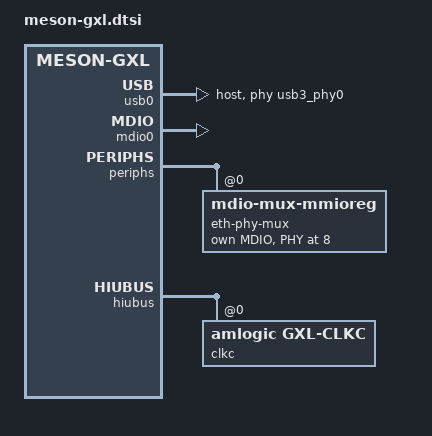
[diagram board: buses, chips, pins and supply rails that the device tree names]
/*
 * Copyright (c) 2016 Endless Computers, Inc.
 * Author: Carlo Caione <carlo@endlessm.com>
 *
 * This file is dual-licensed: you can use it either under the terms
 * of the GPL or the X11 license, at your option. Note that this dual
 * licensing only applies to this file, and not this project as a
 * whole.
 *
 *  a) This library is free software; you can redistribute it and/or
 *     modify it under the terms of the GNU General Public License as
 *     published by the Free Software Foundation; either version 2 of the
 *     License, or (at your option) any later version.
 *
 *     This library is distributed in the hope that it will be useful,
 *     but WITHOUT ANY WARRANTY; without even the implied warranty of
 *     MERCHANTABILITY or FITNESS FOR A PARTICULAR PURPOSE.  See the
 *     GNU General Public License for more details.
 *
 * Or, alternatively,
 *
 *  b) Permission is hereby granted, free of charge, to any person
 *     obtaining a copy of this software and associated documentation
 *     files (the "Software"), to deal in the Software without
 *     restriction, including without limitation the rights to use,
 *     copy, modify, merge, publish, distribute, sublicense, and/or
 *     sell copies of the Software, and to permit persons to whom the
 *     Software is furnished to do so, subject to the following
 *     conditions:
 *
 *     The above copyright notice and this permission notice shall be
 *     included in all copies or substantial portions of the Software.
 *
 *     THE SOFTWARE IS PROVIDED "AS IS", WITHOUT WARRANTY OF ANY KIND,
 *     EXPRESS OR IMPLIED, INCLUDING BUT NOT LIMITED TO THE WARRANTIES
 *     OF MERCHANTABILITY, FITNESS FOR A PARTICULAR PURPOSE AND
 *     NONINFRINGEMENT. IN NO EVENT SHALL THE AUTHORS OR COPYRIGHT
 *     HOLDERS BE LIABLE FOR ANY CLAIM, DAMAGES OR OTHER LIABILITY,
 *     WHETHER IN AN ACTION OF CONTRACT, TORT OR OTHERWISE, ARISING
 *     FROM, OUT OF OR IN CONNECTION WITH THE SOFTWARE OR THE USE OR
 *     OTHER DEALINGS IN THE SOFTWARE.
 */

#include "meson-gx.dtsi"
#include <dt-bindings/clock/gxbb-clkc.h>
#include <dt-bindings/gpio/meson-gxl-gpio.h>
#include <dt-bindings/reset/amlogic,meson-gxbb-reset.h>

/ {
	compatible = "amlogic,meson-gxl";

	soc {
		usb0: usb@c9000000 {
			compatible = "snps,dwc3";
			reg = <0x0 0xc9000000 0x0 0x100000>;
			interrupts = <GIC_SPI 30 IRQ_TYPE_LEVEL_HIGH>;
			phys = <&usb3_phy0>;
			phy-names = "usb3-phy";
			dr_mode = "host";
			maximum-speed = "high-speed";
			snps,dis_u2_susphy_quirk;
		};

		usb1: usb@c9100000 {
			compatible = "snps,dwc2";
			reg = <0x0 0xc9100000 0x0 0x40000>;
			interrupts = <GIC_SPI 31 IRQ_TYPE_LEVEL_HIGH>;
			clocks = <&clkc CLKID_USB>;
			clock-names = "otg";
			dr_mode = "host";
			status = "disabled";
		};

		sound {
			compatible = "simple-audio-card";
			simple-audio-card,name = "meson-gxl";
			status = "okay";

			simple-audio-card,dai-link@0 {
				/* HDMI Output */
				format = "i2s";
				mclk-fs = <256>;
				bitclock-master =  <&aiu_i2s_dai>;
				frame-master = <&aiu_i2s_dai>;
				plat {
					sound-dai = <&aiu_i2s_dma>;
				};

				cpu {
					sound-dai = <&aiu_i2s_dai>;
				};

				codec {
					sound-dai = <&hdmi_tx>;
				};
			};
		};
	};
};

&apb {
	usb2_phys: phy@78000 {
		compatible = "amlogic,meson-gxl-usb2-phy";
		#phy-cells = <1>;
		reg = <0x0 0x78000 0x0 0x80>;
		clocks = <&clkc CLKID_USB1>, <&clkc CLKID_USB1_DDR_BRIDGE>;
		clock-names = "usb", "usb_ddr";
		resets = <&reset RESET_USB_OTG>;
		status = "disabled";
	};

	usb3_phy0: phy@78080 {
		compatible = "amlogic,meson-gxl-usb3-phy";
		#phy-cells = <0>;
		reg = <0x0 0x78080 0x0 0x20>;
		interrupts = <GIC_SPI 16 IRQ_TYPE_LEVEL_HIGH>;

		/* dwc3 on GXL enables 2 USB ports on the internal hub */
		phys = <&usb2_phys 0>, <&usb2_phys 1>;

		status = "disabled";
	};
};

&cbus {
	aiu: aiu@5400 {
		compatible = "amlogic,meson-aiu" , "simple-mfd", "syscon"  ;
		reg = <0x0 0x5400 0x0 0x24c>;

		aiu_i2s_dai: aiu-i2s-dai {
			#sound-dai-cells = <0>;
			compatible = "amlogic,meson-aiu-i2s-dai";
			clocks =  <&clkc CLKID_CTS_AMCLK>,
				  <&clkc CLKID_AIU>,
				  <&clkc CLKID_AIU_GLUE>,
				  <&clkc CLKID_AOCLK_GATE>,
				  <&clkc CLKID_MIXER_IFACE>;
			clock-names = "amclk","aiu_top", "aiu_glue",
				      "aoclk", "mixer_if";
			status = "okay";
		};

		aiu_i2s_dma: aiu_i2s_dma {
			#sound-dai-cells = <0>;
			compatible = "amlogic,meson-aiu-i2s-dma";
			interrupts = <GIC_SPI 48 IRQ_TYPE_EDGE_RISING>;
			clocks = <&clkc CLKID_AIU>,
				 <&clkc CLKID_AIU_GLUE>,
				 <&clkc CLKID_I2S_OUT>;
			clock-names = "aiu_top", "aiu_glue",
				      "i2s_out";
			status = "okay";
		};
	};
};

&ethmac {
	reg = <0x0 0xc9410000 0x0 0x10000
	       0x0 0xc8834540 0x0 0x4>;

	clocks = <&clkc CLKID_ETH>,
		 <&clkc CLKID_FCLK_DIV2>,
		 <&clkc CLKID_MPLL2>;
	clock-names = "stmmaceth", "clkin0", "clkin1";

	mdio0: mdio {
		#address-cells = <1>;
		#size-cells = <0>;
		compatible = "snps,dwmac-mdio";
	};
};

&aobus {
	pinctrl_aobus: pinctrl@14 {
		compatible = "amlogic,meson-gxl-aobus-pinctrl";
		#address-cells = <2>;
		#size-cells = <2>;
		ranges;

		gpio_ao: bank@14 {
			reg = <0x0 0x00014 0x0 0x8>,
			      <0x0 0x0002c 0x0 0x4>,
			      <0x0 0x00024 0x0 0x8>;
			reg-names = "mux", "pull", "gpio";
			gpio-controller;
			#gpio-cells = <2>;
			gpio-ranges = <&pinctrl_aobus 0 0 14>;
		};

		uart_ao_a_pins: uart_ao_a {
			mux {
				groups = "uart_tx_ao_a", "uart_rx_ao_a";
				function = "uart_ao";
			};
		};

		remote_input_ao_pins: remote_input_ao {
			mux {
				groups = "remote_input_ao";
				function = "remote_input_ao";
			};
		};
	};
};

&periphs {
	pinctrl_periphs: pinctrl@4b0 {
		compatible = "amlogic,meson-gxl-periphs-pinctrl";
		#address-cells = <2>;
		#size-cells = <2>;
		ranges;

		gpio: bank@4b0 {
			reg = <0x0 0x004b0 0x0 0x28>,
			      <0x0 0x004e8 0x0 0x14>,
			      <0x0 0x00120 0x0 0x14>,
			      <0x0 0x00430 0x0 0x40>;
			reg-names = "mux", "pull", "pull-enable", "gpio";
			gpio-controller;
			#gpio-cells = <2>;
			gpio-ranges = <&pinctrl_periphs 0 14 101>;
		};

		emmc_pins: emmc {
			mux {
				groups = "emmc_nand_d07",
				       "emmc_cmd",
				       "emmc_clk",
				       "emmc_ds";
				function = "emmc";
			};
		};

		sdcard_pins: sdcard {
			mux {
				groups = "sdcard_d0",
				       "sdcard_d1",
				       "sdcard_d2",
				       "sdcard_d3",
				       "sdcard_cmd",
				       "sdcard_clk";
				function = "sdcard";
			};
		};

		sdio_pins: sdio {
			mux {
				groups = "sdio_d0",
				       "sdio_d1",
				       "sdio_d2",
				       "sdio_d3",
				       "sdio_cmd",
				       "sdio_clk";
				function = "sdio";
			};
		};

		sdio_irq_pins: sdio_irq {
			mux {
				groups = "sdio_irq";
				function = "sdio";
			};
		};

		uart_a_pins: uart_a {
			mux {
				groups = "uart_tx_a",
				       "uart_rx_a";
				function = "uart_a";
			};
		};

		uart_b_pins: uart_b {
			mux {
				groups = "uart_tx_b",
				       "uart_rx_b";
				function = "uart_b";
			};
		};

		uart_c_pins: uart_c {
			mux {
				groups = "uart_tx_c",
				       "uart_rx_c";
				function = "uart_c";
			};
		};

		i2c_a_pins: i2c_a {
			mux {
				groups = "i2c_sck_a",
				     "i2c_sda_a";
				function = "i2c_a";
			};
		};

		i2c_b_pins: i2c_b {
			mux {
				groups = "i2c_sck_b",
				      "i2c_sda_b";
				function = "i2c_b";
			};
		};

		i2c_c_pins: i2c_c {
			mux {
				groups = "i2c_sck_c",
				      "i2c_sda_c";
				function = "i2c_c";
			};
		};

		eth_pins: eth_c {
			mux {
				groups = "eth_mdio",
				       "eth_mdc",
				       "eth_clk_rx_clk",
				       "eth_rx_dv",
				       "eth_rxd0",
				       "eth_rxd1",
				       "eth_rxd2",
				       "eth_rxd3",
				       "eth_rgmii_tx_clk",
				       "eth_tx_en",
				       "eth_txd0",
				       "eth_txd1",
				       "eth_txd2",
				       "eth_txd3";
				function = "eth";
			};
		};

		pwm_e_pins: pwm_e {
			mux {
				groups = "pwm_e";
				function = "pwm_e";
			};
		};

		hdmi_hpd_pins: hdmi_hpd {
			mux {
				groups = "hdmi_hpd";
				function = "hdmi_hpd";
			};
		};

		hdmi_i2c_pins: hdmi_i2c {
			mux {
				groups = "hdmi_sda", "hdmi_scl";
				function = "hdmi_i2c";
			};
		};
	};

	eth-phy-mux {
		compatible = "mdio-mux-mmioreg", "mdio-mux";
		#address-cells = <1>;
		#size-cells = <0>;
		reg = <0x0 0x55c 0x0 0x4>;
		mux-mask = <0xffffffff>;
		mdio-parent-bus = <&mdio0>;

		internal_mdio: mdio@e40908ff {
			reg = <0xe40908ff>;
			#address-cells = <1>;
			#size-cells = <0>;

			internal_phy: ethernet-phy@8 {
				compatible = "ethernet-phy-id0181.4400", "ethernet-phy-ieee802.3-c22";
				reg = <8>;
				max-speed = <100>;
			};
		};

		external_mdio: mdio@2009087f {
			reg = <0x2009087f>;
			#address-cells = <1>;
			#size-cells = <0>;
		};
	};
};

&hiubus {
	clkc: clock-controller@0 {
		compatible = "amlogic,gxl-clkc", "amlogic,gxbb-clkc";
		#clock-cells = <1>;
		reg = <0x0 0x0 0x0 0x3db>;
	};
};

&i2c_A {
	clocks = <&clkc CLKID_I2C>;
};

&i2c_B {
	clocks = <&clkc CLKID_I2C>;
};

&i2c_C {
	clocks = <&clkc CLKID_I2C>;
};

&sd_emmc_a {
	clocks = <&clkc CLKID_SD_EMMC_A>,
		 <&xtal>,
		 <&clkc CLKID_FCLK_DIV2>;
	clock-names = "core", "clkin0", "clkin1";
};

&sd_emmc_b {
	clocks = <&clkc CLKID_SD_EMMC_B>,
		 <&xtal>,
		 <&clkc CLKID_FCLK_DIV2>;
       clock-names = "core", "clkin0", "clkin1";
};

&sd_emmc_c {
	clocks = <&clkc CLKID_SD_EMMC_C>,
		 <&xtal>,
		 <&clkc CLKID_FCLK_DIV2>;
	clock-names = "core", "clkin0", "clkin1";
};

&vpu {
	compatible = "amlogic,meson-gxl-vpu", "amlogic,meson-gx-vpu";
};

&hdmi_tx {
	compatible = "amlogic,meson-gxl-dw-hdmi", "amlogic,meson-gx-dw-hdmi";
	resets = <&reset RESET_HDMITX_CAPB3>,
		 <&reset RESET_HDMI_SYSTEM_RESET>,
		 <&reset RESET_HDMI_TX>;
	reset-names = "hdmitx_apb", "hdmitx", "hdmitx_phy";
	clocks = <&clkc CLKID_HDMI_PCLK>,
		 <&clkc CLKID_CLK81>,
		 <&clkc CLKID_GCLK_VENCI_INT0>;
	clock-names = "isfr", "iahb", "venci";
	#sound-dai-cells = <0>;
};
